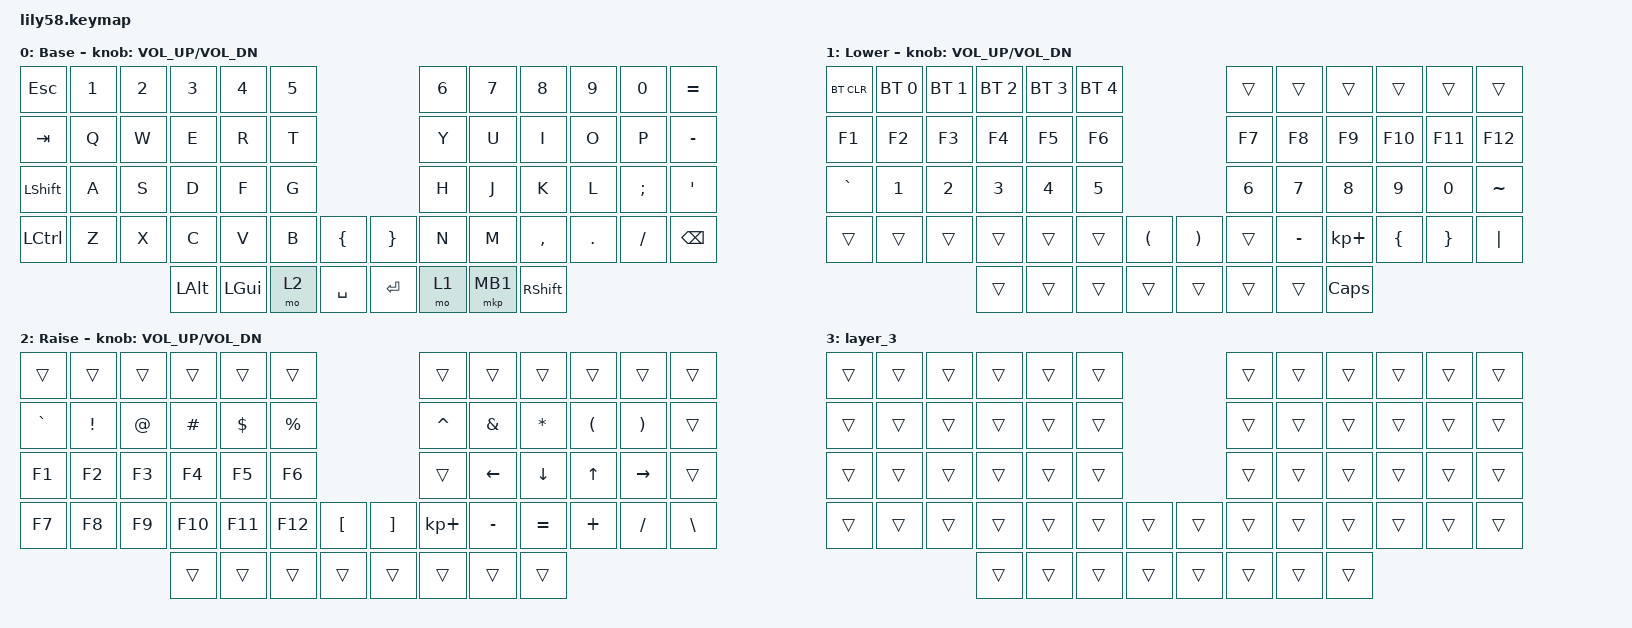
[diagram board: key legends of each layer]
/*
 * Copyright (c) 2020 The ZMK Contributors
 *
 * SPDX-License-Identifier: MIT
 */

#include <behaviors.dtsi>
#include <dt-bindings/zmk/bt.h>
#include <dt-bindings/zmk/keys.h>
#include <dt-bindings/zmk/mouse.h>

/ {
    keymap {
        compatible = "zmk,keymap";

        default_layer {
            // ------------------------------------------------------------------------------------------------------------
            // |  ESC  |  1  |  2  |  3   |  4   |  5   |                   |  6   |  7    |  8    |  9   |   0   |   `   |
            // |  TAB  |  Q  |  W  |  E   |  R   |  T   |                   |  Y   |  U    |  I    |  O   |   P   |   -   |
            // |  CTRL |  A  |  S  |  D   |  F   |  G   |                   |  H   |  J    |  K    |  L   |   ;   |   '   |
            // | SHIFT |  Z  |  X  |  C   |  V   |  B   |   "["  |  |  "]"  |  N   |  M    |  ,    |  .   |   /   | SHIFT |
            //                     | ALT  | GUI  | LOWER|  SPACE |  | ENTER | RAISE| BSPC  | GUI   |

            display-name = "Base";
            bindings = <
&kp ESC           &kp N1  &kp N2  &kp N3    &kp N4    &kp N5                                     &kp N6  &kp N7    &kp N8           &kp N9   &kp N0    &kp EQUAL
&kp TAB           &kp Q   &kp W   &kp E     &kp R     &kp T                                      &kp Y   &kp U     &kp I            &kp O    &kp P     &kp MINUS
&kp LEFT_SHIFT    &kp A   &kp S   &kp D     &kp F     &kp G                                      &kp H   &kp J     &kp K            &kp L    &kp SEMI  &kp APOSTROPHE
&kp LEFT_CONTROL  &kp Z   &kp X   &kp C     &kp V     &kp B   &kp LEFT_BRACE    &kp RIGHT_BRACE  &kp N   &kp M     &kp COMMA        &kp DOT  &kp FSLH  &kp BACKSPACE
                                  &kp LALT  &kp LGUI  &mo 2   &kp SPACE         &kp RET          &mo 1   &mkp MB1  &kp RIGHT_SHIFT
            >;

            sensor-bindings = <&inc_dec_kp C_VOL_UP C_VOL_DN>;
        };

        lower_layer {
            // ------------------------------------------------------------------------------------------------------------
            // | BTCLR | BT1 | BT2 |  BT3 |  BT4 |  BT5 |                   |      |       |       |      |       |       |
            // |  F1   |  F2 |  F3 |  F4  |  F5  |  F6  |                   |  F7  |  F8   |  F9   |  F10 |  F11  |  F12  |
            // |   `   |  !  |  @  |  #   |  $   |  %   |                   |  ^   |  &    |  *    |  (   |   )   |   ~   |
            // |       |     |     |      |      |      |        |  |       |      |  _    |  +    |  {   |   }   |  "|"  |
            //                     |      |      |      |        |  |       |      |       |       |

            display-name = "Lower";
            bindings = <
&bt BT_CLR  &bt BT_SEL 0  &bt BT_SEL 1  &bt BT_SEL 2  &bt BT_SEL 3  &bt BT_SEL 4                                                 &trans        &trans        &trans        &trans        &trans        &trans
&kp F1      &kp F2        &kp F3        &kp F4        &kp F5        &kp F6                                                       &kp F7        &kp F8        &kp F9        &kp F10       &kp F11       &kp F12
&kp GRAVE   &kp NUMBER_1  &kp NUMBER_2  &kp NUMBER_3  &kp NUMBER_4  &kp N5                                                       &kp NUMBER_6  &kp NUMBER_7  &kp NUMBER_8  &kp NUMBER_9  &kp NUMBER_0  &kp TILDE
&trans      &trans        &trans        &trans        &trans        &trans        &kp LEFT_PARENTHESIS    &kp RIGHT_PARENTHESIS  &trans        &kp MINUS     &kp KP_PLUS   &kp LBRC      &kp RBRC      &kp PIPE
                                        &trans        &trans        &trans        &trans                  &trans                 &trans        &trans        &kp CAPSLOCK
            >;

            sensor-bindings = <&inc_dec_kp C_VOL_UP C_VOL_DN>;
        };

        raise_layer {
            // ------------------------------------------------------------------------------------------------------------
            // |       |     |     |      |      |      |                   |      |       |       |      |       |       |
            // |   `   |  1  |  2  |  3   |  4   |  5   |                   |  6   |   7   |   8   |  9   |   0   |       |
            // |   F1  |  F2 |  F3 |  F4  |  F5  |  F6  |                   |      |   <-  |   v   |  ^   |  ->   |       |
            // |   F7  |  F8 |  F9 |  F10 |  F11 |  F12 |        |  |       |  +   |   -   |   =   |  [   |   ]   |   \   |
            //                     |      |      |      |        |  |       |      |       |       |

            display-name = "Raise";
            bindings = <
&trans     &trans           &trans       &trans    &trans      &trans                                              &trans       &trans         &trans        &trans                &trans                 &trans
&kp GRAVE  &kp EXCLAMATION  &kp AT_SIGN  &kp HASH  &kp DOLLAR  &kp PERCENT                                         &kp CARET    &kp AMPERSAND  &kp ASTERISK  &kp LEFT_PARENTHESIS  &kp RIGHT_PARENTHESIS  &trans
&kp F1     &kp F2           &kp F3       &kp F4    &kp F5      &kp F6                                              &trans       &kp LEFT       &kp DOWN      &kp UP                &kp RIGHT              &trans
&kp F7     &kp F8           &kp F9       &kp F10   &kp F11     &kp F12      &kp LEFT_BRACKET    &kp RIGHT_BRACKET  &kp KP_PLUS  &kp MINUS      &kp EQUAL     &kp PLUS              &kp SLASH              &kp BSLH
                                         &trans    &trans      &trans       &trans              &trans             &trans       &trans         &trans
            >;

            sensor-bindings = <&inc_dec_kp C_VOL_UP C_VOL_DN>;
        };

        layer_3 {
            bindings = <
&trans  &trans  &trans  &trans  &trans  &trans                    &trans  &trans  &trans  &trans  &trans  &trans
&trans  &trans  &trans  &trans  &trans  &trans                    &trans  &trans  &trans  &trans  &trans  &trans
&trans  &trans  &trans  &trans  &trans  &trans                    &trans  &trans  &trans  &trans  &trans  &trans
&trans  &trans  &trans  &trans  &trans  &trans  &trans    &trans  &trans  &trans  &trans  &trans  &trans  &trans
                        &trans  &trans  &trans  &trans    &trans  &trans  &trans  &trans
            >;
        };
    };
};
